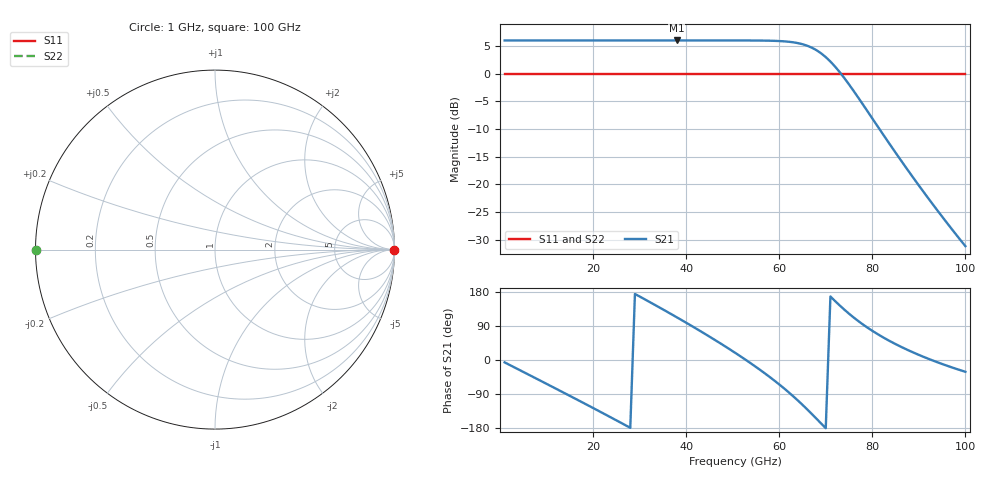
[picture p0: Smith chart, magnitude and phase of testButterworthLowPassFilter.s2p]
! File created by SignalIntegrity v1.1.14: Signal and Power Integrity Tools
! https://github.com/TeledyneLeCroy/SignalIntegrity
# MHz S MA R 50.0
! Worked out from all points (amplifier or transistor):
!   100 points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, 1 GHz to 100 GHz, reference 50 ohm
!   highest |S21| = 6.0 dB at 38 GHz (marker M1)
!   |S21| within 3 dB of that: start of sweep to 69.98 GHz
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1000  1 0.0  2 -6.3  0 0.0  1 180.0
5000  1 0.0  2 -31.4  0 0.0  1 180.0
10000  1 0.0  2 -62.9  0 0.0  1 180.0
14000  1 0.0  2 -88.2  0 0.0  1 180.0
18000  1 0.0  2 -113.7  0 0.0  1 180.0
22000  1 0.0  2 -139.6  0 0.0  1 180.0
26000  1 0.0  2 -165.7  0 0.0  1 180.0
30000  1 0.0  2 167.6  0 0.0  1 180.0
34000  1 0.0  2 140.5  0 0.0  1 180.0
38000  1 0.0  2 112.7  0 0.0  1 180.0
44000  1 0.0  2 69.3  0 0.0  1 180.0
47000  1 0.0  2 46.7  0 0.0  1 180.0
51000  1 0.0  2 15.2  0 0.0  1 180.0
56000  1 0.0  1.995 -27.1  0 0.0  1 180.0
61000  1 0.0  1.964 -74.5  0 0.0  1 180.0
64000  1 0.0  1.893 -106.7  0 0.0  1 180.0
67000  1 0.0  1.722 -142.4  0 0.0  1 180.0
70000  1 0.0  1.414 -180.0  0 0.0  1 180.0
73000  1 0.0  1.034 143.9  0 0.0  1 180.0
78000  1 0.0  0.5266 93.6  0 0.0  1 180.0
84000  1 0.0  0.2229 48.4  0 0.0  1 180.0
100000  1 0.0  0.02768 -31.1  0 0.0  1 180.0
